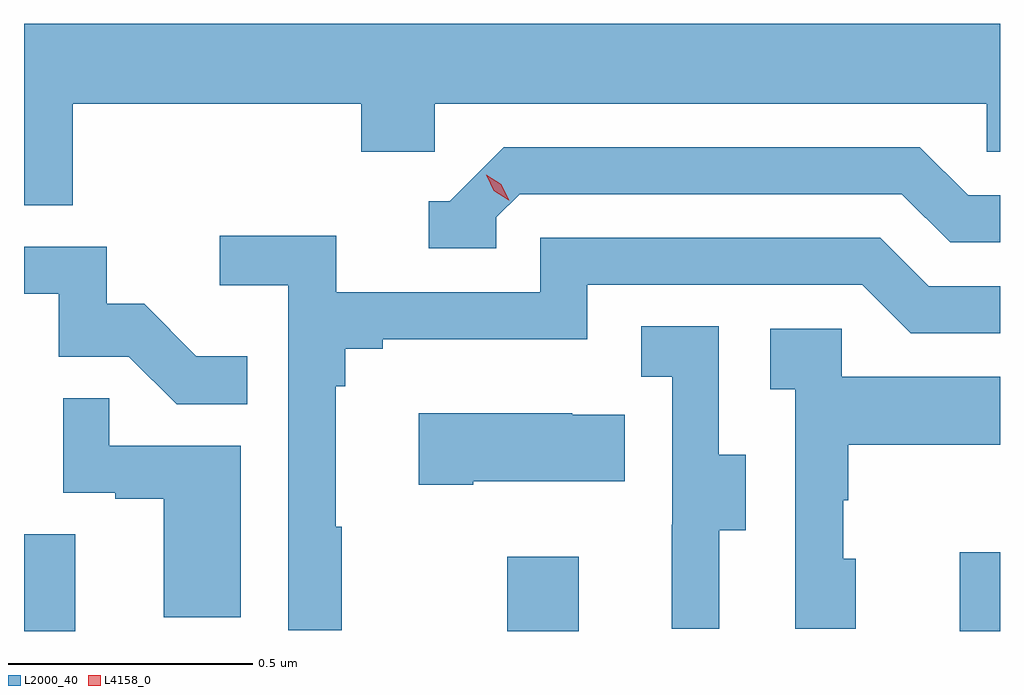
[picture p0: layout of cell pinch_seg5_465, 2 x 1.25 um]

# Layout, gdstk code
import gdstk
lib = gdstk.Library(unit=1e-6, precision=1e-09)
def R(c, l, rs):  # rectangles x0, y0, x1, y1
    for r in rs: c.add(gdstk.rectangle(r[:2], r[2:], *l))
def P(c, l, *ps):  # polygons
    for p in ps: c.add(gdstk.Polygon(p, *l))
L2000_40 = (2000, 40)
L4158_0 = (4158, 0)

pinch_seg5_465 = lib.new_cell('pinch_seg5_465')
R(pinch_seg5_465, L2000_40, [(936.508,854.347,936.613,854.546), (937.498,854.347,937.645,854.5), (938.426,854.347,938.508,854.509)])
P(pinch_seg5_465, L2000_40, [(936.608,855.428),(937.199,855.428),(937.199,855.33),(937.35,855.33),(937.35,855.428),(938.481,855.428),(938.481,855.33),(938.508,855.33),(938.508,855.592),(936.508,855.592),(936.508,855.22),(936.608,855.22)],
  [(937.476,855.195),(937.524,855.243),(938.307,855.243),(938.406,855.144),(938.508,855.144),(938.508,855.24),(938.443,855.24),(938.344,855.339),(937.491,855.339),(937.38,855.228),(937.337,855.228),(937.337,855.132),(937.476,855.132)],
  [(937.159,854.561),(937.147,854.561),(937.147,854.849),(937.166,854.849),(937.166,854.926),(937.243,854.926),(937.243,854.945),(937.662,854.945),(937.662,855.057),(938.226,855.057),(938.325,854.958),(938.508,854.958),(938.508,855.054),(938.362,855.054),(938.263,855.153),(937.566,855.153),(937.566,855.042),(937.148,855.042),(937.148,855.158),(936.909,855.158),(936.909,855.056),(937.05,855.056),(937.05,854.349),(937.159,854.349)],
  [(936.965,854.911),(936.861,854.911),(936.754,855.018),(936.678,855.018),(936.678,855.135),(936.508,855.135),(936.508,855.039),(936.579,855.039),(936.579,854.91),(936.723,854.91),(936.821,854.812),(936.965,854.812)],
  [(937.933,854.554),(937.987,854.554),(937.987,854.709),(937.932,854.709),(937.932,854.972),(937.773,854.972),(937.773,854.869),(937.836,854.869),(937.836,854.565),(937.835,854.565),(937.835,854.352),(937.933,854.352)],
  [(938.212,854.496),(938.187,854.496),(938.187,854.615),(938.197,854.615),(938.197,854.729),(938.508,854.729),(938.508,854.869),(938.184,854.869),(938.184,854.967),(938.037,854.967),(938.037,854.843),(938.088,854.843),(938.088,854.352),(938.212,854.352)],
  [(936.952,854.727),(936.683,854.727),(936.683,854.825),(936.588,854.825),(936.588,854.631),(936.695,854.631),(936.695,854.619),(936.794,854.619),(936.794,854.376),(936.952,854.376)],
  [(937.429,854.654),(937.739,854.654),(937.739,854.791),(937.631,854.791),(937.631,854.794),(937.317,854.794),(937.317,854.647),(937.429,854.647)])
P(pinch_seg5_465, L4158_0, [(937.501,855.23),(937.471,855.25),(937.455,855.283),(937.455,855.283),(937.455,855.283),(937.486,855.263),(937.502,855.23),(937.502,855.23)])

lib.write_gds('pinch_seg5_465.gds')
